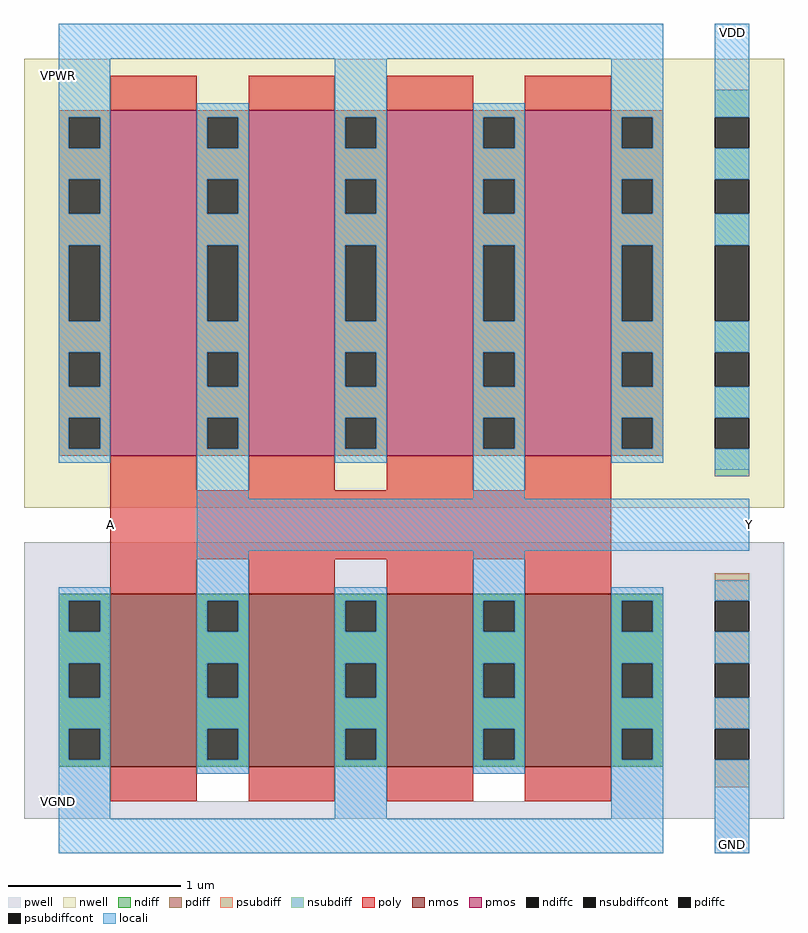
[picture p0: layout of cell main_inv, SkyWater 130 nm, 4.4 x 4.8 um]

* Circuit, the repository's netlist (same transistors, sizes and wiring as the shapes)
* NGSPICE file created from main_inv.ext - technology: sky130A

.subckt main_inv A VPWR VGND Y
X0 VPWR A Y VDD sky130_fd_pr__pfet_01v8 ad=0.3 pd=2.3 as=0.3 ps=2.3 w=2 l=0.5
X1 Y A VGND GND sky130_fd_pr__nfet_01v8 ad=0.15 pd=1.3 as=0.3 ps=2.6 w=1 l=0.5
X2 VGND A Y GND sky130_fd_pr__nfet_01v8 ad=0.3 pd=2.6 as=0.15 ps=1.3 w=1 l=0.5
X3 Y A VGND GND sky130_fd_pr__nfet_01v8 ad=0.15 pd=1.3 as=0.15 ps=1.3 w=1 l=0.5
X4 Y A VPWR VDD sky130_fd_pr__pfet_01v8 ad=0.3 pd=2.3 as=0.3 ps=2.3 w=2 l=0.5
X5 Y A VPWR VDD sky130_fd_pr__pfet_01v8 ad=0.3 pd=2.3 as=0.6 ps=4.6 w=2 l=0.5
X6 VPWR A Y VDD sky130_fd_pr__pfet_01v8 ad=0.6 pd=4.6 as=0.3 ps=2.3 w=2 l=0.5
X7 VGND A Y GND sky130_fd_pr__nfet_01v8 ad=0.15 pd=1.3 as=0.15 ps=1.3 w=1 l=0.5
.ends

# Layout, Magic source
magic
tech sky130A
<< nwell >>
rect -50 150 390 410
<< pwell >>
rect -50 -4 390 130
rect -50 -20 50 -4
rect 80 -20 210 -4
rect 240 -20 390 -4
rect -50 -30 390 -20
rect 350 -50 370 -30
<< nmos >>
rect 0 0 50 100
rect 80 0 130 100
rect 160 0 210 100
rect 240 0 290 100
<< pmos >>
rect 0 180 50 380
rect 80 180 130 380
rect 160 180 210 380
rect 240 180 290 380
<< ndiff >>
rect -30 96 0 100
rect -30 78 -24 96
rect -6 78 0 96
rect -30 60 0 78
rect -30 40 -24 60
rect -6 40 0 60
rect -30 22 0 40
rect -30 4 -24 22
rect -6 4 0 22
rect -30 0 0 4
rect 50 96 80 100
rect 50 78 56 96
rect 74 78 80 96
rect 50 60 80 78
rect 50 40 56 60
rect 74 40 80 60
rect 50 22 80 40
rect 50 4 56 22
rect 74 4 80 22
rect 50 0 80 4
rect 130 96 160 100
rect 130 78 136 96
rect 154 78 160 96
rect 130 60 160 78
rect 130 40 136 60
rect 154 40 160 60
rect 130 22 160 40
rect 130 4 136 22
rect 154 4 160 22
rect 130 0 160 4
rect 210 96 240 100
rect 210 78 216 96
rect 234 78 240 96
rect 210 60 240 78
rect 210 40 216 60
rect 234 40 240 60
rect 210 22 240 40
rect 210 4 216 22
rect 234 4 240 22
rect 210 0 240 4
rect 290 96 320 100
rect 290 78 296 96
rect 314 78 320 96
rect 290 60 320 78
rect 290 40 296 60
rect 314 40 320 60
rect 290 22 320 40
rect 290 4 296 22
rect 314 4 320 22
rect 290 0 320 4
<< pdiff >>
rect -30 376 0 380
rect -30 358 -24 376
rect -6 358 0 376
rect -30 340 0 358
rect -30 320 -24 340
rect -6 320 0 340
rect -30 302 0 320
rect -30 258 -24 302
rect -6 258 0 302
rect -30 240 0 258
rect -30 220 -24 240
rect -6 220 0 240
rect -30 202 0 220
rect -30 184 -24 202
rect -6 184 0 202
rect -30 180 0 184
rect 50 376 80 380
rect 50 358 56 376
rect 74 358 80 376
rect 50 340 80 358
rect 50 320 56 340
rect 74 320 80 340
rect 50 302 80 320
rect 50 258 56 302
rect 74 258 80 302
rect 50 240 80 258
rect 50 220 56 240
rect 74 220 80 240
rect 50 202 80 220
rect 50 184 56 202
rect 74 184 80 202
rect 50 180 80 184
rect 130 376 160 380
rect 130 358 136 376
rect 154 358 160 376
rect 130 340 160 358
rect 130 320 136 340
rect 154 320 160 340
rect 130 302 160 320
rect 130 258 136 302
rect 154 258 160 302
rect 130 240 160 258
rect 130 220 136 240
rect 154 220 160 240
rect 130 202 160 220
rect 130 184 136 202
rect 154 184 160 202
rect 130 180 160 184
rect 210 376 240 380
rect 210 358 216 376
rect 234 358 240 376
rect 210 340 240 358
rect 210 320 216 340
rect 234 320 240 340
rect 210 302 240 320
rect 210 258 216 302
rect 234 258 240 302
rect 210 240 240 258
rect 210 220 216 240
rect 234 220 240 240
rect 210 202 240 220
rect 210 184 216 202
rect 234 184 240 202
rect 210 180 240 184
rect 290 376 320 380
rect 290 358 296 376
rect 314 358 320 376
rect 290 340 320 358
rect 290 320 296 340
rect 314 320 320 340
rect 290 302 320 320
rect 290 258 296 302
rect 314 258 320 302
rect 290 240 320 258
rect 290 220 296 240
rect 314 220 320 240
rect 290 202 320 220
rect 290 184 296 202
rect 314 184 320 202
rect 290 180 320 184
<< ndiffc >>
rect -24 78 -6 96
rect -24 40 -6 60
rect -24 4 -6 22
rect 56 78 74 96
rect 56 40 74 60
rect 56 4 74 22
rect 136 78 154 96
rect 136 40 154 60
rect 136 4 154 22
rect 216 78 234 96
rect 216 40 234 60
rect 216 4 234 22
rect 296 78 314 96
rect 296 40 314 60
rect 296 4 314 22
<< pdiffc >>
rect -24 358 -6 376
rect -24 320 -6 340
rect -24 258 -6 302
rect -24 220 -6 240
rect -24 184 -6 202
rect 56 358 74 376
rect 56 320 74 340
rect 56 258 74 302
rect 56 220 74 240
rect 56 184 74 202
rect 136 358 154 376
rect 136 320 154 340
rect 136 258 154 302
rect 136 220 154 240
rect 136 184 154 202
rect 216 358 234 376
rect 216 320 234 340
rect 216 258 234 302
rect 216 220 234 240
rect 216 184 234 202
rect 296 358 314 376
rect 296 320 314 340
rect 296 258 314 302
rect 296 220 314 240
rect 296 184 314 202
<< psubdiff >>
rect 350 96 370 112
rect 350 60 370 78
rect 350 22 370 40
rect 350 -12 370 4
<< nsubdiff >>
rect 350 376 370 392
rect 350 340 370 358
rect 350 302 370 320
rect 350 240 370 258
rect 350 202 370 220
rect 350 168 370 184
<< psubdiffcont >>
rect 350 78 370 96
rect 350 40 370 60
rect 350 4 370 22
<< nsubdiffcont >>
rect 350 358 370 376
rect 350 320 370 340
rect 350 258 370 302
rect 350 220 370 240
rect 350 184 370 202
<< poly >>
rect 0 380 50 400
rect 80 380 130 400
rect 160 380 210 400
rect 240 380 290 400
rect 0 160 50 180
rect 80 160 130 180
rect 160 160 210 180
rect 240 160 290 180
rect 0 120 290 160
rect 0 100 50 120
rect 80 100 130 120
rect 160 100 210 120
rect 240 100 290 120
rect 0 -20 50 0
rect 80 -20 130 0
rect 160 -20 210 0
rect 240 -20 290 0
<< locali >>
rect -30 410 320 430
rect -30 376 0 410
rect -30 358 -24 376
rect -6 358 0 376
rect -30 340 0 358
rect -30 320 -24 340
rect -6 320 0 340
rect -30 302 0 320
rect -30 258 -24 302
rect -6 258 0 302
rect -30 240 0 258
rect -30 220 -24 240
rect -6 220 0 240
rect -30 202 0 220
rect -30 184 -24 202
rect -6 184 0 202
rect -30 176 0 184
rect 50 376 80 384
rect 50 358 56 376
rect 74 358 80 376
rect 50 340 80 358
rect 50 320 56 340
rect 74 320 80 340
rect 50 302 80 320
rect 50 258 56 302
rect 74 258 80 302
rect 50 240 80 258
rect 50 220 56 240
rect 74 220 80 240
rect 50 202 80 220
rect 50 184 56 202
rect 74 184 80 202
rect 50 155 80 184
rect 130 376 160 410
rect 130 358 136 376
rect 154 358 160 376
rect 130 340 160 358
rect 130 320 136 340
rect 154 320 160 340
rect 130 302 160 320
rect 130 258 136 302
rect 154 258 160 302
rect 130 240 160 258
rect 130 220 136 240
rect 154 220 160 240
rect 130 202 160 220
rect 130 184 136 202
rect 154 184 160 202
rect 130 176 160 184
rect 210 376 240 384
rect 210 358 216 376
rect 234 358 240 376
rect 210 340 240 358
rect 210 320 216 340
rect 234 320 240 340
rect 210 302 240 320
rect 210 258 216 302
rect 234 258 240 302
rect 210 240 240 258
rect 210 220 216 240
rect 234 220 240 240
rect 210 202 240 220
rect 210 184 216 202
rect 234 184 240 202
rect 210 155 240 184
rect 290 376 320 410
rect 290 358 296 376
rect 314 358 320 376
rect 290 340 320 358
rect 290 320 296 340
rect 314 320 320 340
rect 290 302 320 320
rect 290 258 296 302
rect 314 258 320 302
rect 290 240 320 258
rect 290 220 296 240
rect 314 220 320 240
rect 290 202 320 220
rect 290 184 296 202
rect 314 184 320 202
rect 290 176 320 184
rect 350 376 370 430
rect 350 340 370 358
rect 350 302 370 320
rect 350 240 370 258
rect 350 202 370 220
rect 350 172 370 184
rect 50 125 370 155
rect -30 96 0 104
rect -30 78 -24 96
rect -6 78 0 96
rect -30 60 0 78
rect -30 40 -24 60
rect -6 40 0 60
rect -30 22 0 40
rect -30 4 -24 22
rect -6 4 0 22
rect -30 -30 0 4
rect 50 96 80 125
rect 50 78 56 96
rect 74 78 80 96
rect 50 60 80 78
rect 50 40 56 60
rect 74 40 80 60
rect 50 22 80 40
rect 50 4 56 22
rect 74 4 80 22
rect 50 -4 80 4
rect 130 96 160 104
rect 130 78 136 96
rect 154 78 160 96
rect 130 60 160 78
rect 130 40 136 60
rect 154 40 160 60
rect 130 22 160 40
rect 130 4 136 22
rect 154 4 160 22
rect 130 -30 160 4
rect 210 96 240 125
rect 210 78 216 96
rect 234 78 240 96
rect 210 60 240 78
rect 210 40 216 60
rect 234 40 240 60
rect 210 22 240 40
rect 210 4 216 22
rect 234 4 240 22
rect 210 -4 240 4
rect 290 96 320 104
rect 290 78 296 96
rect 314 78 320 96
rect 290 60 320 78
rect 290 40 296 60
rect 314 40 320 60
rect 290 22 320 40
rect 290 4 296 22
rect 314 4 320 22
rect 290 -30 320 4
rect -30 -50 320 -30
rect 350 96 370 108
rect 350 60 370 78
rect 350 22 370 40
rect 350 -50 370 4
<< labels >>
rlabel poly 0 140 0 140 1 A
port 1 n default input
rlabel locali -30 400 -30 400 1 VPWR
port 2 n
rlabel locali -30 -20 -30 -20 1 VGND
port 3 n
rlabel locali 360 -45 360 -45 1 GND
rlabel locali 370 140 370 140 1 Y
port 4 n
rlabel locali 360 425 360 425 5 VDD
<< end >>
